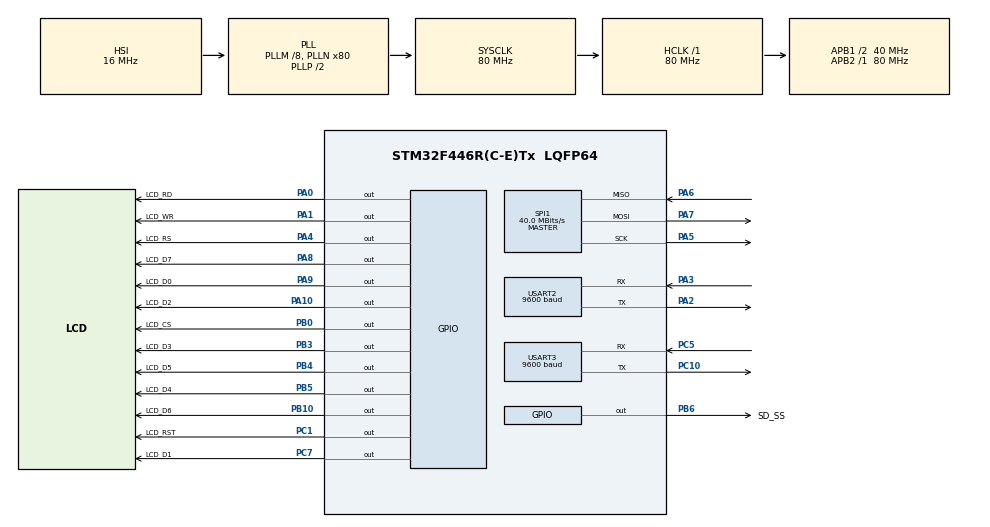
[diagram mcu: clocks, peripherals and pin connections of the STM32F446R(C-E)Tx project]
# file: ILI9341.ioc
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FATFS._MAX_SS=4096
FATFS._USE_LFN=1
Mcu.Family=STM32F4
Mcu.Name=STM32F446R(C-E)Tx
Mcu.Package=LQFP64
NVIC.PriorityGroup=NVIC_PRIORITYGROUP_4
NVIC.USART2_IRQn=true\:0\:0\:false\:false\:true\:true\:true\:true
NVIC.USART3_IRQn=true\:0\:0\:false\:false\:true\:true\:true\:true
PA0-WKUP.GPIO_Label=LCD_RD
PA0-WKUP.GPIO_Speed=GPIO_SPEED_FREQ_HIGH
PA0-WKUP.Signal=GPIO_Output
PA1.GPIO_Label=LCD_WR
PA1.GPIO_Speed=GPIO_SPEED_FREQ_HIGH
PA1.Signal=GPIO_Output
PA10.GPIO_Label=LCD_D2
PA10.GPIO_Speed=GPIO_SPEED_FREQ_HIGH
PA10.Signal=GPIO_Output
PA13.Mode=Serial_Wire
PA13.Signal=SYS_JTMS-SWDIO
PA14.Mode=Serial_Wire
PA14.Signal=SYS_JTCK-SWCLK
PA2.Mode=Asynchronous
PA2.Signal=USART2_TX
PA3.Mode=Asynchronous
PA3.Signal=USART2_RX
PA4.GPIO_Label=LCD_RS
PA4.GPIO_Speed=GPIO_SPEED_FREQ_HIGH
PA4.Signal=GPIO_Output
PA5.Mode=Full_Duplex_Master
PA5.Signal=SPI1_SCK
PA6.Mode=Full_Duplex_Master
PA6.Signal=SPI1_MISO
PA7.Mode=Full_Duplex_Master
PA7.Signal=SPI1_MOSI
PA8.GPIO_Label=LCD_D7
PA8.GPIO_Speed=GPIO_SPEED_FREQ_HIGH
PA8.Signal=GPIO_Output
PA9.GPIO_Label=LCD_D0
PA9.GPIO_Speed=GPIO_SPEED_FREQ_HIGH
PA9.Signal=GPIO_Output
PB0.GPIO_Label=LCD_CS
PB0.GPIO_Speed=GPIO_SPEED_FREQ_HIGH
PB0.Signal=GPIO_Output
PB10.GPIO_Label=LCD_D6
PB10.GPIO_Speed=GPIO_SPEED_FREQ_HIGH
PB10.Signal=GPIO_Output
PB3.GPIO_Label=LCD_D3
PB3.GPIO_Speed=GPIO_SPEED_FREQ_HIGH
PB3.Signal=GPIO_Output
PB4.GPIO_Label=LCD_D5
PB4.GPIO_Speed=GPIO_SPEED_FREQ_HIGH
PB4.Signal=GPIO_Output
PB5.GPIO_Label=LCD_D4
PB5.GPIO_Speed=GPIO_SPEED_FREQ_HIGH
PB5.Signal=GPIO_Output
PB6.GPIO_Label=SD_SS
PB6.GPIO_Speed=GPIO_SPEED_FREQ_MEDIUM
PB6.PinState=GPIO_PIN_SET
PB6.Signal=GPIO_Output
PC1.GPIO_Label=LCD_RST
PC1.GPIO_Speed=GPIO_SPEED_FREQ_HIGH
PC1.Signal=GPIO_Output
PC10.Mode=Asynchronous
PC10.Signal=USART3_TX
PC5.Mode=Asynchronous
PC5.Signal=USART3_RX
PC7.GPIO_Label=LCD_D1
PC7.GPIO_Speed=GPIO_SPEED_FREQ_HIGH
PC7.Signal=GPIO_Output
PH0-OSC_IN.Mode=HSE-External-Oscillator
PH0-OSC_IN.Signal=RCC_OSC_IN
PH1-OSC_OUT.Mode=HSE-External-Oscillator
PH1-OSC_OUT.Signal=RCC_OSC_OUT
ProjectManager.HeapSize=0x200
ProjectManager.StackSize=0x400
ProjectManager.TargetToolchain=STM32CubeIDE
RCC.AHBFreq_Value=80000000
RCC.APB1CLKDivider=RCC_HCLK_DIV2
RCC.APB1Freq_Value=40000000
RCC.APB1TimFreq_Value=80000000
RCC.APB2Freq_Value=80000000
RCC.APB2TimFreq_Value=80000000
RCC.CortexFreq_Value=80000000
RCC.HCLKFreq_Value=80000000
RCC.PLLM=8
RCC.PLLN=80
RCC.SYSCLKFreq_VALUE=80000000
RCC.SYSCLKSource=RCC_SYSCLKSOURCE_PLLCLK
RCC.USBFreq_Value=80000000
RCC.VCOOutputFreq_Value=160000000
SPI1.BaudRatePrescaler=SPI_BAUDRATEPRESCALER_2
SPI1.CalculateBaudRate=40.0 MBits/s
SPI1.Direction=SPI_DIRECTION_2LINES
SPI1.Mode=SPI_MODE_MASTER
SPI1.VirtualType=VM_MASTER
USART2.BaudRate=9600
USART2.VirtualMode=VM_ASYNC
USART3.BaudRate=9600
USART3.VirtualMode=VM_ASYNC
VP_FATFS_VS_Generic.Mode=User_defined
board=custom

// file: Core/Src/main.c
/* USER CODE BEGIN Header */
/**
 ******************************************************************************
 * @file           : main.c
 * @brief          : Main program body
 ******************************************************************************
 * @attention
 *
 * Copyright (c) 2024 STMicroelectronics.
 * All rights reserved.
 *
 * This software is licensed under terms that can be found in the LICENSE file
 * in the root directory of this software component.
 * If no LICENSE file comes with this software, it is provided AS-IS.
 *
 ******************************************************************************
 */
/* USER CODE END Header */
#include "main.h"
#include "fatfs.h"

/* USER CODE BEGIN Includes */
#include "ili9341.h"
#include "Bitmaps.h"
#include "fatfs_sd.h"
#include "string.h"
#include "stdio.h"
/* USER CODE END Includes */

/* USER CODE BEGIN PD */
#define CHUNK_ROWS 20
SPI_HandleTypeDef hspi1;
FATFS fs;
FATFS *pfs;
FIL fil;
FRESULT fres;
DWORD fre_clust;
uint32_t totalSpace, freeSpace;
char buffer[100];
/* USER CODE END PD */

SPI_HandleTypeDef hspi1;

UART_HandleTypeDef huart2;
UART_HandleTypeDef huart3;

/* USER CODE BEGIN PV */

//Declaramos variable que lleva el control de
volatile uint8_t estado = 0;
uint8_t rxByte;

volatile uint8_t rxState = 0;      // 0 = esperando control, 1 = esperando accion
volatile char rxControl = 0;
volatile char rxAction = 0;
volatile uint8_t comandoListo = 0;
volatile uint8_t stage1 = 0;
volatile uint8_t stage2 = 0;
volatile uint8_t stage3 = 0;
uint8_t dato_play = 'A';
uint8_t dato_inicio = 'S';
uint8_t dato_disparo = 'D';
uint8_t dato_colision = 'C';
uint8_t dato_muerte = 'M';
uint8_t dato_game = 'B';
uint8_t dato_gandor = 'W';
uint8_t flag_inicio = 0;
static uint8_t blockBuffer[320 * CHUNK_ROWS * 2];
volatile uint8_t inicio = 0;
volatile uint16_t x_rojo = 0;
volatile uint16_t y_rojo = 23;
volatile uint16_t x_celeste = 320-14;
volatile uint16_t y_celeste = 240-13;

//varibles para poder hacer logica de colisiones
#define STAGE_W         320
#define STAGE_H         240
#define TANK_W          14
#define TANK_H          13
#define MOVE_STEP       2
#define COLOR_CAMINO    0x0000

typedef enum {
    DIR_UP = 0,
    DIR_DOWN,
    DIR_LEFT,
    DIR_RIGHT
} TankDir;

volatile TankDir dir_rojo = DIR_RIGHT;
volatile TankDir dir_celeste = DIR_LEFT;
#define BALA_W 3
#define BALA_H 3
#define BALA_STEP 3
#define BALA_INTERVAL_MS 5

typedef struct {
    uint8_t activa;
    int16_t x;
    int16_t y;
    TankDir dir;
} Bala;

volatile Bala bala_roja = {0, 0, 0, DIR_RIGHT};
volatile Bala bala_celeste = {0, 0, 0, DIR_LEFT};

uint32_t lastBulletTick = 0;
uint8_t collisionMap[STAGE_H][STAGE_W];
uint8_t vida_rojo = 3;
uint8_t vida_celeste = 3;
volatile uint8_t contador1 = 0;
volatile uint8_t contador2 = 0;

/* USER CODE END PV */

void SystemClock_Config(void);
static void MX_GPIO_Init(void);
static void MX_USART3_UART_Init(void);
static void MX_SPI1_Init(void);
static void MX_USART2_UART_Init(void);
/* USER CODE BEGIN PFP */
//funcion para poder leer imagen de la SD
FRESULT LCD_DrawImageFromSD_Fast(const char *filename,
                                 uint16_t x,
                                 uint16_t y,
                                 uint16_t width,
                                 uint16_t height);

//prototipos para poder hacer colisiones
const char *ArchivoStageActual(void);
uint8_t EnJuego(void);
uint16_t LeerPixelStageActual(uint16_t x, uint16_t y);
uint8_t PuedeMoverTanque(uint16_t newX, uint16_t newY, TankDir dir);

FRESULT LCD_DrawRegionFromSD(const char *filename,
                             uint16_t srcX, uint16_t srcY,
                             uint16_t width, uint16_t height,
                             uint16_t dstX, uint16_t dstY);

const uint16_t *SpriteTanqueRojo(TankDir dir);
const uint16_t *SpriteTanqueCeleste(TankDir dir);

void DibujarTanqueRojo(void);
void DibujarTanqueCeleste(void);

void MoverTanqueRojoStage(TankDir dir);
void MoverTanqueCelesteStage(TankDir dir);
void BorrarFranjaMovimiento(uint16_t oldX, uint16_t oldY, TankDir dir);
uint16_t SpriteWidth(TankDir dir);
uint16_t SpriteHeight(TankDir dir);
void BorrarSpriteAnterior(uint16_t oldX, uint16_t oldY, TankDir oldDir, TankDir newDir);
uint8_t PuedeMoverBala(int16_t newX, int16_t newY, TankDir dir);
void DibujarBala(const Bala *bala);
void BorrarBala(const Bala *bala);
void DispararBalaRoja(void);
void DispararBalaCeleste(void);
void ActualizarBala(Bala *bala);
void ActualizarBalas(void);
void BorrarFranjaBala(const Bala *bala);
void BorrarBalaCompleta(const Bala *bala);
FRESULT CargarMapaColision(const char *filename);
uint8_t PixelTransitableRAM(uint16_t x, uint16_t y);
uint8_t BalaImpactaTanque(const Bala *bala, uint16_t tankX, uint16_t tankY, TankDir tankDir);
uint8_t TanquesColisionan(uint16_t x1, uint16_t y1, TankDir dir1,
                          uint16_t x2, uint16_t y2, TankDir dir2);
uint8_t PuedeMoverTanqueRojo(uint16_t newX, uint16_t newY, TankDir dir);
uint8_t PuedeMoverTanqueCeleste(uint16_t newX, uint16_t newY, TankDir dir);
/* USER CODE END PFP */

/* USER CODE BEGIN 0 */
void transmit_uart(char *string){
	uint8_t len = strlen(string);
	HAL_UART_Transmit(&huart2, (uint8_t*) string, len, 200);
}

/* USER CODE END 0 */

int main(void)
{

  /* MCU Configuration--------------------------------------------------------*/

  /* Reset of all peripherals, Initializes the Flash interface and the Systick. */
  HAL_Init();

  /* Configure the system clock */
  SystemClock_Config();

  /* Initialize all configured peripherals */
  MX_GPIO_Init();
  MX_USART3_UART_Init();
  MX_SPI1_Init();
  MX_FATFS_Init();
  MX_USART2_UART_Init();
  /* USER CODE BEGIN 2 */
  	HAL_UART_Receive_IT(&huart3, &rxByte, 1);
  	//codigo para poder leer la microSD
  	/*HAL_Delay(500);
  	//montamos el sistema
  	fres = f_mount(&fs, "/", 0);
  	if(fres == FR_OK){
  		transmit_uart("Micro SD card is mounted successfully\n");
  	}
  	else if(fres != FR_OK){
  		transmit_uart("Micro SD card's mount error\n");
  	}
  	//abrimos archivo ya sea en lectura o escritura o en ambos y append
  	fres = f_open(&fil, "prueba.txt", FA_OPEN_APPEND | FA_READ | FA_WRITE);
  	if(fres == FR_OK){
  		transmit_uart("File opened for reading\n");
  	}
  	else if(fres != FR_OK){
  		transmit_uart("File was not opened for reading\n");
  	}

  	//escribir en el archivo abierto
  	for(uint8_t i = 0; i < 5; i++){
  		f_puts("Hola mundo digital 2\n", &fil);
  	}

  	//cerramo archivo abierto
  	fres = f_close(&fil);
  	if (fres == FR_OK){
  		transmit_uart("The file is closed\n");
  	}
  	else if(fres != FR_OK){
  		transmit_uart("The was not file closed\n");
  	}

  	//leemos archivo
  	fres = f_open(&fil, "prueba.txt", FA_READ);
  	if(fres == FR_OK){
  	  		transmit_uart("File opened for reading\n");
  	  	}
  	  	else if(fres != FR_OK){
  	  		transmit_uart("File was not opened for reading\n");
  	  	}
  	//leemos el archivo
  	while (f_gets(buffer, sizeof(buffer),&fil)){
  		char mRd[100];
  		sprintf(mRd, "%s", buffer);
  		transmit_uart(mRd);
  	}
  	fres = f_close(&fil);
  	  	if (fres == FR_OK){
  	  		transmit_uart("The file is closed\n");
  	  	}
  	  	else if(fres != FR_OK){
  	  		transmit_uart("The was not file closed\n");
  	  	}
  	  	f_mount(NULL, "", 1);
  	  	if(fres == FR_OK){
  	  		transmit_uart("The microSD is unmounted\n");
  	  	}
  	  	else if(fres != FR_OK){
  	  		transmit_uart("The microSD was not unmounted\n");
  	  	}*/
  	//cerramos el archivo

	LCD_Init();
	HAL_Delay(100);

	fres = f_mount(&fs, "/", 1);
	if (fres == FR_OK) {
	    transmit_uart("SD montada correctamente\r\n");
	} else {
	    char msg[50];
	    sprintf(msg, "Mount error: %d\r\n", fres);
	    transmit_uart(msg);
	}

	if (LCD_DrawImageFromSD_Fast("0:/INICIO.bin", 0, 0, 320, 240) == FR_OK) {
	    transmit_uart("Fondo cargado desde SD\r\n");
	} else {
	    transmit_uart("Error cargando fondo desde SD\r\n");
	}
	//LCD_Clear(0x00);
	//FillRect(unsigned int x, unsigned int y, unsigned int w, unsigned int h, unsigned int c);
	//FillRect(0, 0, 319, 239, 0x0DFE);
	//FillRect(0, 0, 319, 239, 0x4c9d);

	//LCD_Bitmap(unsigned int x, unsigned int y, unsigned int width, unsigned int height, unsigned char bitmap[]);

	//---- Desplegamos la pantalla de inicio del juego ----//
	//LCD_Bitmap(0, 0, 320, 240, INICIO);

	//LCD_Bitmap(100, 100, 24, 30, sonic);

	//LCD_Bitmap(0, 0, 320, 240, fondoPinguin);
	//LCD_BitmapTransparent(100, 100, 49, 36, dkong, 0x4b7e);
	//LCD_BitmapTransparent(50, 60,32,32,megaman,0x03ba);
	//LCD_Bitmap(132, 100, 32, 32, megaman);

// 	FillRect(0, 0, 319, 206, 0x079f);
//	LCD_Print("Hola Mundo", 20, 150, 2, 0x001F, 0x055b);
//
//
//for (int x = 0; x < 319; x++) {
//			LCD_Bitmap(x, 116, 15, 15, tile);
//			LCD_Bitmap(x, 68, 15, 15, tile);
//			LCD_Bitmap(x, 207, 15, 15, tile);
//			LCD_Bitmap(x, 223, 15, 15, tile);
//			x += 14;
//		}

	//LCD_BitmapTransparent(100, 116-36, 40, 40, TANK, 0x079f);
	//LCD_Sprite(int x, int y, int width, int height, unsigned char bitmap[], int columns, int index, char flip, char offset);

	//LCD_Sprite(100, 116-29, 14, 13, TANK_DERECHA_ROJO, 1, 0, 0, 0);

	//  LCD_Print("Hola Mundo", 20, 100, 1, 0x001F, 0xCAB9);

  /* USER CODE END 2 */

  /* Infinite loop */
  /* USER CODE BEGIN WHILE */
	  while (1)
	  {
		  //---- logica iniciar musica de fondo inicio ----//
		  if(flag_inicio == 0){
			  flag_inicio = 1;
			  HAL_UART_Transmit(&huart3, &dato_inicio, 1, 100);
		  }
		  //---- fin de logica ----//

		  //---- logica para saber de que control viene la info ----//
	      if (comandoListo)
	      {
	          comandoListo = 0;

	          if (rxControl == '1')
	          {
	              switch (rxAction)
	              {
	                  case 'A':
	                      if (estado == 0){
	                    	  estado = 1;
	                    	  HAL_UART_Transmit(&huart3, &dato_play, 1, 100);
	                      }
	                      break;

	                  case 'B':
	                	  /*if(estado == 1){
	                		  //estado = 2;

	                		  if (EnJuego()) DispararBalaRoja();
	                	  }*/
	                	  if (EnJuego()) {
	                		  HAL_UART_Transmit(&huart3, &dato_disparo, 1, 100);
	                		  DispararBalaRoja();
	                	  }
	                      break;

	                  case 'U':
	                      if (EnJuego()) MoverTanqueRojoStage(DIR_UP);
	                      break;

	                  case 'D':
	                      if (EnJuego()) MoverTanqueRojoStage(DIR_DOWN);
	                      break;

	                  case 'L':
	                      if (EnJuego()) MoverTanqueRojoStage(DIR_LEFT);
	                      break;

	                  case 'R':
	                      if (EnJuego()) MoverTanqueRojoStage(DIR_RIGHT);
	                      break;
	              }
	          }
	          else if (rxControl == '2')
	          {
	              switch (rxAction)
	              {
	                  case 'A':
	                	  if (estado == 0){
	                	  	     estado = 1;
	                	  	     HAL_UART_Transmit(&huart3, &dato_play, 1, 100);
	                	 }
	                      break;

	                  case 'B':
	                	  if (EnJuego()) {
	                		  HAL_UART_Transmit(&huart3, &dato_disparo, 1, 100);
	                		  DispararBalaCeleste();
	                	  }
	                      break;

	                  case 'L':
	                      if (EnJuego()) MoverTanqueCelesteStage(DIR_LEFT);
	                      break;

	                  case 'R':
	                      if (EnJuego()) MoverTanqueCelesteStage(DIR_RIGHT);
	                      break;

	                  case 'U':
	                	  if (EnJuego()) MoverTanqueCelesteStage(DIR_UP);
	                	  break;

	                  case 'D':
	                      if (EnJuego()) MoverTanqueCelesteStage(DIR_DOWN);
	                      break;
	              }
	          }
	      }
	      //---- Fin de logica para detectar controles ----//

	      //logica para balas
	      ActualizarBalas();
	      //fin de logica para balas
	      //---- Logica para poder ver en que estado estamos ----//
	      switch (estado)
	      {
	          case 1:
	              if (stage1 == 0)
	              {

	            		  //dibujar sprite de tanque rojo
	            	          stage2 = 0;
	            	          stage1 = 1;
	            	          stage3 = 0;

	            	          x_rojo = 33;
	            	          y_rojo = 45;
	            	          dir_rojo = DIR_RIGHT;

	            	          LCD_DrawImageFromSD_Fast("0:/STAGE1.bin", 0, 0, 320, 240);
	            	          CargarMapaColision("0:/STAGE1.bin");
	            	          DibujarTanqueRojo();

	            	      //dibujar sprite de tanque celeste
	            	          x_celeste = STAGE_W - TANK_W;
	            	          y_celeste = STAGE_H - TANK_H;
	            	          dir_celeste = DIR_LEFT;
	            	          DibujarTanqueCeleste();
	            	          //Vidas player 1
	            	          LCD_Bitmap(107, 0, 10, 7, VIDAS);
	            	          LCD_Bitmap(107+10+2, 0, 10, 7, VIDAS);
	            	          LCD_Bitmap(119+2+10, 0, 10,7, VIDAS);

	            	          //vidas player 2
	            	          LCD_Bitmap(107, 11, 10, 7, VIDAS);
	            	          LCD_Bitmap(107+10+2, 11, 10, 7, VIDAS);
	            	          LCD_Bitmap(119+2+10, 11, 10, 7, VIDAS);
	            	          bala_roja.activa = 0;
	            	          bala_celeste.activa = 0;

	              }
	              switch (vida_rojo){
	              	            	          	case 0:
	              	            	          		FillRect(107, 0, 10,7, 0x0000);
	              	            	          	 break;
	              	            	          	case 1:
	              	            	          		FillRect(119,0,10,7, 0x0000);
	              	            	          	 break;
	              	            	          	case 2:
	              	            	          		FillRect(131,0, 10,7, 0x0000);
	              	            	          	 break;
	              	            	          }
	              switch (vida_celeste){
	              	  	  case 0:
	              	          FillRect(107, 11, 10,7, 0x0000);
	              	          break;
	              	      case 1:
	              	          FillRect(119, 11,10,7, 0x0000);
	              	          break;
	              	      case 2:
	              	          FillRect(131,11, 10,7, 0x0000);
	              	      break;
	                      }
	          break;

	          case 2:
	        	  if(stage2 == 0){
	        		  	  vida_rojo = 3;
	        		  	  vida_celeste = 3;
	        	          stage2 = 1;
	        	          stage1 = 0;
	        	          stage3 = 0;
	        	          LCD_DrawImageFromSD_Fast("0:/STAGE2.bin", 0, 0, 320, 240);
	        	          CargarMapaColision("0:/STAGE2.bin");
	        	          HAL_UART_Transmit(&huart3, &dato_game, 1, 100);
	        	          x_rojo = 30;
	        	          y_rojo = 187;
	        	          dir_rojo = DIR_RIGHT;
	        	          DibujarTanqueRojo();

	        	          x_celeste = 195 - TANK_W;
	        	          y_celeste = 69 - TANK_H;
	        	          dir_celeste = DIR_LEFT;
	        	          DibujarTanqueCeleste();

	        	          //Vidas player 1
	        	          LCD_Bitmap(107, 0, 10, 7, VIDAS);
	        	          LCD_Bitmap(107+10+2, 0, 10, 7, VIDAS);
	        	          LCD_Bitmap(119+2+10, 0, 10,7, VIDAS);

	        	          //vidas player 2
	        	          LCD_Bitmap(107, 9, 10, 7, VIDAS);
	        	          LCD_Bitmap(107+10+2, 9, 10, 7, VIDAS);
	        	          LCD_Bitmap(119+2+10, 9, 10, 7, VIDAS);
	        	          bala_roja.activa = 0;
	        	          bala_celeste.activa = 0;
	        	      }
	        	  switch (vida_rojo){
	        	  	              	            	          	case 0:
	        	  	              	            	          		FillRect(107, 0, 10,7, 0x0000);
	        	  	              	            	          	 break;
	        	  	              	            	          	case 1:
	        	  	              	            	          		FillRect(119,0,10,7, 0x0000);
	        	  	              	            	          	 break;
	        	  	              	            	          	case 2:
	        	  	              	            	          		FillRect(131,0, 10,7, 0x0000);
	        	  	              	            	          	 break;
	        	  	              	            	          }
	        	  	              switch (vida_celeste){
	        	  	              	  	  case 0:
	        	  	              	          FillRect(107, 9, 10,7, 0x0000);
	        	  	              	          break;
	        	  	              	      case 1:
	        	  	              	          FillRect(119, 9,10,7, 0x0000);
	        	  	              	          break;
	        	  	              	      case 2:
	        	  	              	          FillRect(131,9, 10,7, 0x0000);
	        	  	              	      break;
	        	  	                      }
	              break;
	          case 3:
	        	  if(stage3 == 0){
	        		  vida_rojo = 3;
	        		  vida_celeste = 3;
	        		  stage2 = 0;
	        		  stage1 = 0;
	        		  stage3 = 1;
	        		  LCD_DrawImageFromSD_Fast("0:/STAGE3.bin", 0, 0, 320, 240);
	        		  CargarMapaColision("0:/STAGE3.bin");
	        		  HAL_UART_Transmit(&huart3, &dato_game, 1, 100);
	        		  x_rojo = 266;
	        		 y_rojo = 93;
	        		 dir_rojo = DIR_RIGHT;
	        		 DibujarTanqueRojo();

	        		 x_celeste = 9;   //- TANK_W;
	        		 y_celeste = 97; //- TANK_H;
	        		 dir_celeste = DIR_LEFT;
	        		 DibujarTanqueCeleste();
	        		 //Vidas player 1
	        		 LCD_Bitmap(107, 0, 10, 7, VIDAS);
	        		 LCD_Bitmap(107+10+2, 0, 10, 7, VIDAS);
	        		 LCD_Bitmap(119+2+10, 0, 10,7, VIDAS);

	        		 //vidas player 2
	        		 LCD_Bitmap(107, 11, 10, 7, VIDAS);
	        		 LCD_Bitmap(107+10+2, 11, 10, 7, VIDAS);
	        		 LCD_Bitmap(119+2+10, 11, 10, 7, VIDAS);
	        		 bala_roja.activa = 0;
	        		 bala_celeste.activa = 0;
	        	  }
	        	  switch (vida_rojo){
	        	  	              	            	          	case 0:
	        	  	              	            	          		FillRect(107, 0, 10,7, 0x0000);
	        	  	              	            	          	 break;
	        	  	              	            	          	case 1:
	        	  	              	            	          		FillRect(119,0,10,7, 0x0000);
	        	  	              	            	          	 break;
	        	  	              	            	          	case 2:
	        	  	              	            	          		FillRect(131,0, 10,7, 0x0000);
	        	  	              	            	          	 break;
	        	  	              	            	          }
	        	  	              switch (vida_celeste){
	        	  	              	  	  case 0:
	        	  	              	          FillRect(107, 11, 10,7, 0x0000);
	        	  	              	          break;
	        	  	              	      case 1:
	        	  	              	          FillRect(119, 11,10,7, 0x0000);
	        	  	              	          break;
	        	  	              	      case 2:
	        	  	              	          FillRect(131,11, 10,7, 0x0000);
	        	  	              	      break;
	        	  	                      }
	        	  break;
	        	  case 4:
	        		  HAL_UART_Transmit(&huart3, &dato_gandor, 1, 100);
	        		  LCD_DrawImageFromSD_Fast("0:/Player1wins.bin", 0, 0, 320, 240);
	        		  break;
	        	  case 5:
	        		  HAL_UART_Transmit(&huart3, &dato_gandor, 1, 100);
	        		  LCD_DrawImageFromSD_Fast("0:/player2wins.bin", 0, 0, 320, 240);
	        		  break;
	          default:
	              break;
	      }
	      //---- fin de logica para estados ----//
    /* USER CODE END WHILE */

	  }
}

void SystemClock_Config(void)
{
  RCC_OscInitTypeDef RCC_OscInitStruct = {0};
  RCC_ClkInitTypeDef RCC_ClkInitStruct = {0};

  /** Configure the main internal regulator output voltage
  */
  __HAL_RCC_PWR_CLK_ENABLE();
  __HAL_PWR_VOLTAGESCALING_CONFIG(PWR_REGULATOR_VOLTAGE_SCALE3);

  /** Initializes the RCC Oscillators according to the specified parameters
  * in the RCC_OscInitTypeDef structure.
  */
  RCC_OscInitStruct.OscillatorType = RCC_OSCILLATORTYPE_HSI;
  RCC_OscInitStruct.HSIState = RCC_HSI_ON;
  RCC_OscInitStruct.HSICalibrationValue = RCC_HSICALIBRATION_DEFAULT;
  RCC_OscInitStruct.PLL.PLLState = RCC_PLL_ON;
  RCC_OscInitStruct.PLL.PLLSource = RCC_PLLSOURCE_HSI;
  RCC_OscInitStruct.PLL.PLLM = 8;
  RCC_OscInitStruct.PLL.PLLN = 80;
  RCC_OscInitStruct.PLL.PLLP = RCC_PLLP_DIV2;
  RCC_OscInitStruct.PLL.PLLQ = 2;
  RCC_OscInitStruct.PLL.PLLR = 2;
  if (HAL_RCC_OscConfig(&RCC_OscInitStruct) != HAL_OK)
  {
    Error_Handler();
  }

  /** Initializes the CPU, AHB and APB buses clocks
  */
  RCC_ClkInitStruct.ClockType = RCC_CLOCKTYPE_HCLK|RCC_CLOCKTYPE_SYSCLK
                              |RCC_CLOCKTYPE_PCLK1|RCC_CLOCKTYPE_PCLK2;
  RCC_ClkInitStruct.SYSCLKSource = RCC_SYSCLKSOURCE_PLLCLK;
  RCC_ClkInitStruct.AHBCLKDivider = RCC_SYSCLK_DIV1;
  RCC_ClkInitStruct.APB1CLKDivider = RCC_HCLK_DIV2;
  RCC_ClkInitStruct.APB2CLKDivider = RCC_HCLK_DIV1;

  if (HAL_RCC_ClockConfig(&RCC_ClkInitStruct, FLASH_LATENCY_2) != HAL_OK)
  {
    Error_Handler();
  }
}

static void MX_SPI1_Init(void)
{

  /* SPI1 parameter configuration*/
  hspi1.Instance = SPI1;
  hspi1.Init.Mode = SPI_MODE_MASTER;
  hspi1.Init.Direction = SPI_DIRECTION_2LINES;
  hspi1.Init.DataSize = SPI_DATASIZE_8BIT;
  hspi1.Init.CLKPolarity = SPI_POLARITY_LOW;
  hspi1.Init.CLKPhase = SPI_PHASE_1EDGE;
  hspi1.Init.NSS = SPI_NSS_SOFT;
  hspi1.Init.BaudRatePrescaler = SPI_BAUDRATEPRESCALER_2;
  hspi1.Init.FirstBit = SPI_FIRSTBIT_MSB;
  hspi1.Init.TIMode = SPI_TIMODE_DISABLE;
  hspi1.Init.CRCCalculation = SPI_CRCCALCULATION_DISABLE;
  hspi1.Init.CRCPolynomial = 10;
  if (HAL_SPI_Init(&hspi1) != HAL_OK)
  {
    Error_Handler();
  }

}

static void MX_USART2_UART_Init(void)
{

  huart2.Instance = USART2;
  huart2.Init.BaudRate = 9600;
  huart2.Init.WordLength = UART_WORDLENGTH_8B;
  huart2.Init.StopBits = UART_STOPBITS_1;
  huart2.Init.Parity = UART_PARITY_NONE;
  huart2.Init.Mode = UART_MODE_TX_RX;
  huart2.Init.HwFlowCtl = UART_HWCONTROL_NONE;
  huart2.Init.OverSampling = UART_OVERSAMPLING_16;
  if (HAL_UART_Init(&huart2) != HAL_OK)
  {
    Error_Handler();
  }

}

static void MX_USART3_UART_Init(void)
{

  huart3.Instance = USART3;
  huart3.Init.BaudRate = 115200;
  huart3.Init.WordLength = UART_WORDLENGTH_8B;
  huart3.Init.StopBits = UART_STOPBITS_1;
  huart3.Init.Parity = UART_PARITY_NONE;
  huart3.Init.Mode = UART_MODE_TX_RX;
  huart3.Init.HwFlowCtl = UART_HWCONTROL_NONE;
  huart3.Init.OverSampling = UART_OVERSAMPLING_16;
  if (HAL_UART_Init(&huart3) != HAL_OK)
  {
    Error_Handler();
  }

}

static void MX_GPIO_Init(void)
{
  GPIO_InitTypeDef GPIO_InitStruct = {0};

  /* GPIO Ports Clock Enable */
  __HAL_RCC_GPIOH_CLK_ENABLE();
  __HAL_RCC_GPIOC_CLK_ENABLE();
  __HAL_RCC_GPIOA_CLK_ENABLE();
  __HAL_RCC_GPIOB_CLK_ENABLE();

  /*Configure GPIO pin Output Level */
  HAL_GPIO_WritePin(GPIOC, LCD_RST_Pin|LCD_D1_Pin, GPIO_PIN_RESET);

  /*Configure GPIO pin Output Level */
  HAL_GPIO_WritePin(GPIOA, LCD_RD_Pin|LCD_WR_Pin|LCD_RS_Pin|LCD_D7_Pin
                          |LCD_D0_Pin|LCD_D2_Pin, GPIO_PIN_RESET);

  /*Configure GPIO pin Output Level */
  HAL_GPIO_WritePin(GPIOB, LCD_CS_Pin|LCD_D6_Pin|LCD_D3_Pin|LCD_D5_Pin
                          |LCD_D4_Pin, GPIO_PIN_RESET);

  /*Configure GPIO pin Output Level */
  HAL_GPIO_WritePin(SD_SS_GPIO_Port, SD_SS_Pin, GPIO_PIN_SET);

  /*Configure GPIO pins : LCD_RST_Pin LCD_D1_Pin */
  GPIO_InitStruct.Pin = LCD_RST_Pin|LCD_D1_Pin;
  GPIO_InitStruct.Mode = GPIO_MODE_OUTPUT_PP;
  GPIO_InitStruct.Pull = GPIO_NOPULL;
  GPIO_InitStruct.Speed = GPIO_SPEED_FREQ_HIGH;
  HAL_GPIO_Init(GPIOC, &GPIO_InitStruct);

  /*Configure GPIO pins : LCD_RD_Pin LCD_WR_Pin LCD_RS_Pin LCD_D7_Pin
                           LCD_D0_Pin LCD_D2_Pin */
  GPIO_InitStruct.Pin = LCD_RD_Pin|LCD_WR_Pin|LCD_RS_Pin|LCD_D7_Pin
                          |LCD_D0_Pin|LCD_D2_Pin;
  GPIO_InitStruct.Mode = GPIO_MODE_OUTPUT_PP;
  GPIO_InitStruct.Pull = GPIO_NOPULL;
  GPIO_InitStruct.Speed = GPIO_SPEED_FREQ_HIGH;
  HAL_GPIO_Init(GPIOA, &GPIO_InitStruct);

  /*Configure GPIO pins : LCD_CS_Pin LCD_D6_Pin LCD_D3_Pin LCD_D5_Pin
                           LCD_D4_Pin */
  GPIO_InitStruct.Pin = LCD_CS_Pin|LCD_D6_Pin|LCD_D3_Pin|LCD_D5_Pin
                          |LCD_D4_Pin;
  GPIO_InitStruct.Mode = GPIO_MODE_OUTPUT_PP;
  GPIO_InitStruct.Pull = GPIO_NOPULL;
  GPIO_InitStruct.Speed = GPIO_SPEED_FREQ_HIGH;
  HAL_GPIO_Init(GPIOB, &GPIO_InitStruct);

  /*Configure GPIO pin : SD_SS_Pin */
  GPIO_InitStruct.Pin = SD_SS_Pin;
  GPIO_InitStruct.Mode = GPIO_MODE_OUTPUT_PP;
  GPIO_InitStruct.Pull = GPIO_NOPULL;
  GPIO_InitStruct.Speed = GPIO_SPEED_FREQ_MEDIUM;
  HAL_GPIO_Init(SD_SS_GPIO_Port, &GPIO_InitStruct);

}

/* USER CODE BEGIN 4 */
void HAL_UART_RxCpltCallback(UART_HandleTypeDef *huart)
{
    if (huart->Instance == USART3)
    {
        if (rxState == 0)
        {
            // Esperando número de control
            if (rxByte == '1' || rxByte == '2')
            {
                rxControl = rxByte;
                rxState = 1;
            }
        }
        else if (rxState == 1)
        {
            // Esperando acción
            if (rxByte == 'A' || rxByte == 'B' || rxByte == 'L' || rxByte == 'R' ||
                rxByte == 'U' || rxByte == 'D')
            {
                rxAction = rxByte;
                comandoListo = 1;
            }

            // Después de recibir acción, volver a esperar control
            rxState = 0;
        }

        HAL_UART_Receive_IT(&huart3, &rxByte, 1);
    }
}

//logica para poder leer imagenes desde la SD y poder enviarlos a la pantalla
FRESULT LCD_DrawImageFromSD_Fast(const char *filename,
                                 uint16_t x,
                                 uint16_t y,
                                 uint16_t width,
                                 uint16_t height)
{
    FRESULT fres_local;
    UINT bytesRead;
    char msg[100];

    if (width > 320) {
        transmit_uart("Error: width > 320\r\n");
        return FR_INVALID_PARAMETER;
    }

    fres_local = f_open(&fil, filename, FA_READ);
    if (fres_local != FR_OK) {
        sprintf(msg, "Open error: %d\r\n", fres_local);
        transmit_uart(msg);
        return fres_local;
    }

    HAL_GPIO_WritePin(GPIOB, LCD_CS_Pin, GPIO_PIN_RESET);
    SetWindows(x, y, x + width - 1, y + height - 1);
    HAL_GPIO_WritePin(GPIOA, LCD_RS_Pin, GPIO_PIN_SET);

    uint16_t rowsRemaining = height;
    while (rowsRemaining > 0) {

        uint16_t rowsToRead = (rowsRemaining > CHUNK_ROWS) ? CHUNK_ROWS : rowsRemaining;
        uint32_t bytesToRead = width * rowsToRead * 2;

        fres_local = f_read(&fil, blockBuffer, bytesToRead, &bytesRead);
        if (fres_local != FR_OK) {
            sprintf(msg, "Read error: %d\r\n", fres_local);
            transmit_uart(msg);
            f_close(&fil);
            HAL_GPIO_WritePin(GPIOB, LCD_CS_Pin, GPIO_PIN_SET);
            return fres_local;
        }

        if (bytesRead != bytesToRead) {
            transmit_uart("Partial read\r\n");
            f_close(&fil);
            HAL_GPIO_WritePin(GPIOB, LCD_CS_Pin, GPIO_PIN_SET);
            return FR_INT_ERR;
        }

        for (uint32_t i = 0; i < bytesToRead; i += 2) {
            uint8_t hi = blockBuffer[i];
            uint8_t lo = blockBuffer[i + 1];

            LCD_DATA(hi);
            LCD_DATA(lo);
        }

        rowsRemaining -= rowsToRead;
    }

    HAL_GPIO_WritePin(GPIOB, LCD_CS_Pin, GPIO_PIN_SET);
    f_close(&fil);

    transmit_uart("Image drawn successfully\r\n");
    return FR_OK;
}

//---- Funciones para lograr colisiones ----//

FRESULT LCD_DrawRegionFromSD(const char *filename,
                             uint16_t srcX, uint16_t srcY,
                             uint16_t width, uint16_t height,
                             uint16_t dstX, uint16_t dstY)
{
    FRESULT fr;
    UINT br;
    uint32_t rowBytes = width * 2;

    fr = f_open(&fil, filename, FA_READ);
    if (fr != FR_OK) return fr;

    HAL_GPIO_WritePin(GPIOB, LCD_CS_Pin, GPIO_PIN_RESET);
    SetWindows(dstX, dstY, dstX + width - 1, dstY + height - 1);
    HAL_GPIO_WritePin(GPIOA, LCD_RS_Pin, GPIO_PIN_SET);

    for (uint16_t row = 0; row < height; row++)
    {
        DWORD offset = (((DWORD)(srcY + row) * STAGE_W) + srcX) * 2;

        fr = f_lseek(&fil, offset);
        if (fr != FR_OK) {
            HAL_GPIO_WritePin(GPIOB, LCD_CS_Pin, GPIO_PIN_SET);
            f_close(&fil);
            return fr;
        }

        fr = f_read(&fil, blockBuffer, rowBytes, &br);
        if (fr != FR_OK || br != rowBytes) {
            HAL_GPIO_WritePin(GPIOB, LCD_CS_Pin, GPIO_PIN_SET);
            f_close(&fil);
            return FR_INT_ERR;
        }

        for (uint32_t i = 0; i < rowBytes; i += 2)
        {
            LCD_DATA(blockBuffer[i]);
            LCD_DATA(blockBuffer[i + 1]);
        }
    }

    HAL_GPIO_WritePin(GPIOB, LCD_CS_Pin, GPIO_PIN_SET);
    f_close(&fil);
    return FR_OK;
}

const uint16_t *SpriteTanqueRojo(TankDir dir)
{
    switch (dir)
    {
        case DIR_UP:    return TANK_ARRIBA_ROJO;
        case DIR_DOWN:  return TANK_ABAJO_ROJO;
        case DIR_LEFT:  return TANK_IZQUIERDA_ROJO;
        case DIR_RIGHT: return TANK_DERECHA_ROJO;
        default:        return TANK_DERECHA_ROJO;
    }
}
const char *ArchivoStageActual(void)
{
    if (stage1) return "0:/STAGE1.bin";
    if (stage2) return "0:/STAGE2.bin";
    if (stage3) return "0:/STAGE3.bin";
    return "0:/INICIO.bin";
}

uint8_t EnJuego(void)
{
    return (stage1 || stage2 || stage3);
}

uint16_t LeerPixelStageActual(uint16_t x, uint16_t y)
{
    UINT br;
    uint8_t pix[2];
    DWORD offset;
    const char *archivo = ArchivoStageActual();

    if (x >= STAGE_W || y >= STAGE_H) return 0xFFFF;

    offset = ((DWORD)y * STAGE_W + x) * 2;

    if (f_open(&fil, archivo, FA_READ) != FR_OK) return 0xFFFF;

    if (f_lseek(&fil, offset) != FR_OK) {
        f_close(&fil);
        return 0xFFFF;
    }

    if (f_read(&fil, pix, 2, &br) != FR_OK || br != 2) {
        f_close(&fil);
        return 0xFFFF;
    }

    f_close(&fil);
    return ((uint16_t)pix[0] << 8) | pix[1];
}

uint8_t PuedeMoverTanque(uint16_t newX, uint16_t newY, TankDir dir)
{
    uint16_t w = SpriteWidth(dir);
    uint16_t h = SpriteHeight(dir);

    uint16_t left, right, top, bottom, midX, midY;

    if (newX > (STAGE_W - w)) return 0;
    if (newY > (STAGE_H - h)) return 0;

    left   = newX;
    right  = newX + w - 1;
    top    = newY;
    bottom = newY + h - 1;
    midX   = newX + (w / 2);
    midY   = newY + (h / 2);

    switch (dir)
    {
        case DIR_RIGHT:
            if (!PixelTransitableRAM(right, top)) return 0;
            if (!PixelTransitableRAM(right, midY)) return 0;
            if (!PixelTransitableRAM(right, bottom)) return 0;
            break;

        case DIR_LEFT:
            if (!PixelTransitableRAM(left, top)) return 0;
            if (!PixelTransitableRAM(left, midY)) return 0;
            if (!PixelTransitableRAM(left, bottom)) return 0;
            break;

        case DIR_UP:
            if (!PixelTransitableRAM(left, top)) return 0;
            if (!PixelTransitableRAM(midX, top)) return 0;
            if (!PixelTransitableRAM(right, top)) return 0;
            break;

        case DIR_DOWN:
            if (!PixelTransitableRAM(left, bottom)) return 0;
            if (!PixelTransitableRAM(midX, bottom)) return 0;
            if (!PixelTransitableRAM(right, bottom)) return 0;
            break;
    }

    return 1;
}
const uint16_t *SpriteTanqueCeleste(TankDir dir)
{
    switch (dir)
    {
        case DIR_UP:    return TANK_ARRIBA_CELESTE;
        case DIR_DOWN:  return TANK_ABAJO_CELESTE;
        case DIR_LEFT:  return TANK_IZQUIERDA_CELESTE;
        case DIR_RIGHT: return TANK_DERECHA_CELESTE;
        default:        return TANK_IZQUIERDA_CELESTE;
    }
}
uint16_t SpriteWidth(TankDir dir)
{
    switch (dir)
    {
        case DIR_UP:
        	return 13;
        case DIR_DOWN:
            return 12;

        case DIR_LEFT:
        	return 13;
        case DIR_RIGHT:
        	 return 14;
        default:
            return 14;
    }
}

uint16_t SpriteHeight(TankDir dir)
{
    switch (dir)
    {
        case DIR_UP:
        case DIR_DOWN:
            return 14;

        case DIR_LEFT:
        case DIR_RIGHT:
        	return 13;
        default:
            return 13;
    }
}
void DibujarTanqueRojo(void)
{
    uint16_t w = SpriteWidth(dir_rojo);
    uint16_t h = SpriteHeight(dir_rojo);

    LCD_Sprite(x_rojo, y_rojo, w, h, SpriteTanqueRojo(dir_rojo), 1, 0, 0, 0);
}

void DibujarTanqueCeleste(void)
{
    uint16_t w = SpriteWidth(dir_celeste);
    uint16_t h = SpriteHeight(dir_celeste);

    LCD_Sprite(x_celeste, y_celeste, w, h, SpriteTanqueCeleste(dir_celeste), 1, 0, 0, 0);
}
void BorrarSpriteAnterior(uint16_t oldX, uint16_t oldY, TankDir oldDir, TankDir newDir)
{
    uint16_t oldW = SpriteWidth(oldDir);
    uint16_t oldH = SpriteHeight(oldDir);

    if (oldDir != newDir)
    {
        for (uint16_t i = 0; i < oldH; i++)
        {
            H_line(oldX, oldY + i, oldW, COLOR_CAMINO);
        }
        return;
    }

    switch (newDir)
    {
        case DIR_RIGHT:
            for (uint16_t i = 0; i < MOVE_STEP; i++)
            {
                V_line(oldX + i, oldY, oldH, COLOR_CAMINO);
            }
            break;

        case DIR_LEFT:
            for (uint16_t i = 0; i < MOVE_STEP; i++)
            {
                V_line(oldX + oldW - MOVE_STEP + i, oldY, oldH, COLOR_CAMINO);
            }
            break;

        case DIR_UP:
            for (uint16_t i = 0; i < MOVE_STEP; i++)
            {
                H_line(oldX, oldY + oldH - MOVE_STEP + i, oldW, COLOR_CAMINO);
            }
            break;

        case DIR_DOWN:
            for (uint16_t i = 0; i < MOVE_STEP; i++)
            {
                H_line(oldX, oldY + i, oldW, COLOR_CAMINO);
            }
            break;
    }
}
void MoverTanqueRojoStage(TankDir dir)
{
    int16_t newX = x_rojo;
    int16_t newY = y_rojo;
    uint16_t oldX = x_rojo;
    uint16_t oldY = y_rojo;
    TankDir oldDir = dir_rojo;

    switch (dir)
    {
        case DIR_UP:    newY -= MOVE_STEP; break;
        case DIR_DOWN:  newY += MOVE_STEP; break;
        case DIR_LEFT:  newX -= MOVE_STEP; break;
        case DIR_RIGHT: newX += MOVE_STEP; break;
    }

    if (newX < 0 || newY < 0) return;
    if (!PuedeMoverTanqueRojo((uint16_t)newX, (uint16_t)newY, dir)) return;

    BorrarSpriteAnterior(oldX, oldY, oldDir, dir);

    x_rojo = (uint16_t)newX;
    y_rojo = (uint16_t)newY;
    dir_rojo = dir;

    DibujarTanqueRojo();
}

void MoverTanqueCelesteStage(TankDir dir)
{
    int16_t newX = x_celeste;
    int16_t newY = y_celeste;
    uint16_t oldX = x_celeste;
    uint16_t oldY = y_celeste;
    TankDir oldDir = dir_celeste;

    switch (dir)
    {
        case DIR_UP:    newY -= MOVE_STEP; break;
        case DIR_DOWN:  newY += MOVE_STEP; break;
        case DIR_LEFT:  newX -= MOVE_STEP; break;
        case DIR_RIGHT: newX += MOVE_STEP; break;
    }

    if (newX < 0 || newY < 0) return;
    if (!PuedeMoverTanqueCeleste((uint16_t)newX, (uint16_t)newY, dir)) return;

    BorrarSpriteAnterior(oldX, oldY, oldDir, dir);

    x_celeste = (uint16_t)newX;
    y_celeste = (uint16_t)newY;
    dir_celeste = dir;

    DibujarTanqueCeleste();
}
uint8_t PuedeMoverBala(int16_t newX, int16_t newY, TankDir dir)
{
    if (newX < 0 || newY < 0) return 0;
    if ((newX + BALA_W - 1) >= STAGE_W) return 0;
    if ((newY + BALA_H - 1) >= STAGE_H) return 0;

    switch (dir)
    {
        case DIR_RIGHT:
            return PixelTransitableRAM((uint16_t)(newX + BALA_W - 1), (uint16_t)(newY + 1));

        case DIR_LEFT:
            return PixelTransitableRAM((uint16_t)newX, (uint16_t)(newY + 1));

        case DIR_UP:
            return PixelTransitableRAM((uint16_t)(newX + 1), (uint16_t)newY);

        case DIR_DOWN:
            return PixelTransitableRAM((uint16_t)(newX + 1), (uint16_t)(newY + BALA_H - 1));
    }

    return 0;
}

void DibujarBala(const Bala *bala)
{
    if (!bala->activa) return;
    LCD_Sprite((uint16_t)bala->x, (uint16_t)bala->y, BALA_W, BALA_H, BALAS, 1, 0, 0, 0);
}

void BorrarFranjaBala(const Bala *bala)
{
    if (!bala->activa) return;

    uint16_t borrarX = (BALA_STEP < BALA_W) ? BALA_STEP : BALA_W;
    uint16_t borrarY = (BALA_STEP < BALA_H) ? BALA_STEP : BALA_H;

    switch (bala->dir)
    {
        case DIR_RIGHT:
            for (uint16_t i = 0; i < borrarX; i++)
            {
                V_line((uint16_t)bala->x + i, (uint16_t)bala->y, BALA_H, COLOR_CAMINO);
            }
            break;

        case DIR_LEFT:
            for (uint16_t i = 0; i < borrarX; i++)
            {
                V_line((uint16_t)bala->x + BALA_W - 1 - i, (uint16_t)bala->y, BALA_H, COLOR_CAMINO);
            }
            break;

        case DIR_UP:
            for (uint16_t i = 0; i < borrarY; i++)
            {
                H_line((uint16_t)bala->x, (uint16_t)bala->y + BALA_H - 1 - i, BALA_W, COLOR_CAMINO);
            }
            break;

        case DIR_DOWN:
            for (uint16_t i = 0; i < borrarY; i++)
            {
                H_line((uint16_t)bala->x, (uint16_t)bala->y + i, BALA_W, COLOR_CAMINO);
            }
            break;
    }
}

void BorrarBalaCompleta(const Bala *bala)
{
    H_line((uint16_t)bala->x, (uint16_t)bala->y, BALA_W, COLOR_CAMINO);
    H_line((uint16_t)bala->x, (uint16_t)bala->y + 1, BALA_W, COLOR_CAMINO);
    H_line((uint16_t)bala->x, (uint16_t)bala->y + 2, BALA_W, COLOR_CAMINO);
}

void DispararBalaRoja(void)
{
    if (!EnJuego()) return;
    if (bala_roja.activa) return;

    uint16_t w = SpriteWidth(dir_rojo);
    uint16_t h = SpriteHeight(dir_rojo);

    bala_roja.dir = dir_rojo;
    bala_roja.activa = 1;

    switch (dir_rojo)
    {
        case DIR_RIGHT:
            bala_roja.x = x_rojo + w;
            bala_roja.y = y_rojo + (h / 2) - 1;
            break;

        case DIR_LEFT:
            bala_roja.x = x_rojo - BALA_W;
            bala_roja.y = y_rojo + (h / 2) - 1;
            break;

        case DIR_UP:
            bala_roja.x = x_rojo + (w / 2) - 1;
            bala_roja.y = y_rojo - BALA_H;
            break;

        case DIR_DOWN:
            bala_roja.x = x_rojo + (w / 2) - 1;
            bala_roja.y = y_rojo + h;
            break;
    }

    if (!PuedeMoverBala(bala_roja.x, bala_roja.y, bala_roja.dir))
    {
        bala_roja.activa = 0;
        return;
    }

    DibujarBala((const Bala *)&bala_roja);
}

void DispararBalaCeleste(void)
{
    if (!EnJuego()) return;
    if (bala_celeste.activa) return;

    uint16_t w = SpriteWidth(dir_celeste);
    uint16_t h = SpriteHeight(dir_celeste);

    bala_celeste.dir = dir_celeste;
    bala_celeste.activa = 1;

    switch (dir_celeste)
    {
        case DIR_RIGHT:
            bala_celeste.x = x_celeste + w;
            bala_celeste.y = y_celeste + (h / 2) - 1;
            break;

        case DIR_LEFT:
            bala_celeste.x = x_celeste - BALA_W;
            bala_celeste.y = y_celeste + (h / 2) - 1;
            break;

        case DIR_UP:
            bala_celeste.x = x_celeste + (w / 2) - 1;
            bala_celeste.y = y_celeste - BALA_H;
            break;

        case DIR_DOWN:
            bala_celeste.x = x_celeste + (w / 2) - 1;
            bala_celeste.y = y_celeste + h;
            break;
    }

    if (!PuedeMoverBala(bala_celeste.x, bala_celeste.y, bala_celeste.dir))
    {
        bala_celeste.activa = 0;
        return;
    }

    DibujarBala((const Bala *)&bala_celeste);
}

void ActualizarBala(Bala *bala)
{
    if (!bala->activa) return;

    int16_t oldX = bala->x;
    int16_t oldY = bala->y;

    int16_t newX = bala->x;
    int16_t newY = bala->y;

    switch (bala->dir)
    {
        case DIR_RIGHT: newX += BALA_STEP; break;
        case DIR_LEFT:  newX -= BALA_STEP; break;
        case DIR_UP:    newY -= BALA_STEP; break;
        case DIR_DOWN:  newY += BALA_STEP; break;
    }

    bala->x = newX;
    bala->y = newY;

    // --- colision contra jugador enemigo ---
    if (bala == (Bala *)&bala_roja)
    {
        if (BalaImpactaTanque((const Bala *)bala, x_celeste, y_celeste, dir_celeste))
        {
            BorrarBalaCompleta((const Bala *)bala);
            bala->activa = 0;

            if(stage1){
				HAL_UART_Transmit(&huart3, &dato_colision, 1, 100);
				uint16_t oldX = x_celeste;
			    uint16_t oldY = y_celeste;
				TankDir oldDir = dir_celeste;
				uint16_t w = SpriteWidth(oldDir);
				uint16_t h = SpriteHeight(oldDir);
				FillRect(oldX, oldY, w, h, 0x0000);
				vida_celeste--;
				x_celeste = STAGE_W - TANK_W;
				y_celeste = STAGE_H - TANK_H;
				dir_celeste = DIR_LEFT;
				DibujarTanqueCeleste();
				if(vida_celeste == 0){
					contador1++;
					HAL_UART_Transmit(&huart3, &dato_muerte, 1, 100);
					estado=2;
				}
				return;
            }
            else if(stage2){
            	HAL_UART_Transmit(&huart3, &dato_colision, 1, 100);
            	uint16_t oldX = x_celeste;
            	uint16_t oldY = y_celeste;
            	TankDir oldDir = dir_celeste;
            	uint16_t w = SpriteWidth(oldDir);
            	uint16_t h = SpriteHeight(oldDir);
            	FillRect(oldX, oldY, w, h, 0x0000);
            	vida_celeste--;
            	x_celeste = 195 - TANK_W;
                y_celeste = 69 - TANK_H;
                dir_celeste = DIR_LEFT;
                DibujarTanqueCeleste();
                if(vida_celeste == 0){
                	contador1++;
                	HAL_UART_Transmit(&huart3, &dato_muerte, 1, 100);
                	estado=3;
                }
            	return;
            }
            else if(stage3){
            	HAL_UART_Transmit(&huart3, &dato_colision, 1, 100);
            	uint16_t oldX = x_celeste;
            	uint16_t oldY = y_celeste;
                TankDir oldDir = dir_celeste;
            	uint16_t w = SpriteWidth(oldDir);
            	uint16_t h = SpriteHeight(oldDir);
            	FillRect(oldX, oldY, w, h, 0x0000);
            	vida_celeste--;
            	x_celeste = 9;
            	y_celeste = 97;
            	dir_celeste = DIR_LEFT;
            	DibujarTanqueCeleste();
                if(vida_celeste == 0){
                	contador1++;
            	   HAL_UART_Transmit(&huart3, &dato_muerte, 1, 100);
            	   if(contador1 >= 2){
            		  estado=4;
            	   }
            	   else if(contador2 >= 2)
            	   estado=5;
            	}
            	return;
            }
        }
    }
    else if (bala == (Bala *)&bala_celeste)
    {
        if (BalaImpactaTanque((const Bala *)bala, x_rojo, y_rojo, dir_rojo))
        {
            BorrarBalaCompleta((const Bala *)bala);
            bala->activa = 0;
            if(stage1){
				HAL_UART_Transmit(&huart3, &dato_colision, 1, 100);
				uint16_t oldX = x_rojo;
				uint16_t oldY = y_rojo;
				TankDir oldDir = dir_rojo;
				uint16_t w = SpriteWidth(oldDir);
				uint16_t h = SpriteHeight(oldDir);
				FillRect(oldX, oldY, w, h, 0x0000);
				vida_rojo--;
				x_rojo = 33;
				y_rojo = 45;
				dir_rojo = DIR_RIGHT;
				DibujarTanqueRojo();
				if(vida_rojo == 0){
					contador2++;
					HAL_UART_Transmit(&huart3, &dato_muerte, 1, 100);
					estado=2;
				}
				return;
            }
            else if(stage2){
            	HAL_UART_Transmit(&huart3, &dato_colision, 1, 100);
            	uint16_t oldX = x_rojo;
            	uint16_t oldY = y_rojo;
            	TankDir oldDir = dir_rojo;
            	uint16_t w = SpriteWidth(oldDir);
            	uint16_t h = SpriteHeight(oldDir);
            	FillRect(oldX, oldY, w, h, 0x0000);
            	vida_rojo--;
            	x_rojo = 30;
            	y_rojo = 187;
            	dir_rojo = DIR_RIGHT;
            	DibujarTanqueRojo();
            	if(vida_rojo == 0){
            		contador2++;
            		HAL_UART_Transmit(&huart3, &dato_muerte, 1, 100);
            		estado=3;
            	}
            	return;
            }
            else if(stage3){
              HAL_UART_Transmit(&huart3, &dato_colision, 1, 100);
              uint16_t oldX = x_rojo;
              uint16_t oldY = y_rojo;
              TankDir oldDir = dir_rojo;
              uint16_t w = SpriteWidth(oldDir);
              uint16_t h = SpriteHeight(oldDir);
              FillRect(oldX, oldY, w, h, 0x0000);
              vida_rojo--;
          	  x_rojo = 266;
          	  y_rojo = 93;
          	  dir_rojo = DIR_RIGHT;
          	  DibujarTanqueRojo();
          	  if(vida_rojo == 0){
          		  contador2++;
          		  HAL_UART_Transmit(&huart3, &dato_muerte, 1, 100);
          		  if(contador1 >= 2){
          		     estado=4;
          		  }
          		  else if(contador2 >= 2){
          		     estado=5;
          		  }
          		  return;
          	  }

            }
        }
    }

    // --- colision contra pared ---
    if (!PuedeMoverBala(newX, newY, bala->dir))
    {
        bala->x = oldX;
        bala->y = oldY;
        BorrarBalaCompleta((const Bala *)bala);
        bala->activa = 0;
        return;
    }

    DibujarBala((const Bala *)bala);

    Bala balaVieja = *bala;
    balaVieja.x = oldX;
    balaVieja.y = oldY;
    BorrarFranjaBala(&balaVieja);
}
void ActualizarBalas(void)
{
    uint32_t now = HAL_GetTick();

    if ((now - lastBulletTick) < BALA_INTERVAL_MS) return;
    lastBulletTick = now;

    ActualizarBala((Bala *)&bala_roja);
    ActualizarBala((Bala *)&bala_celeste);
}
FRESULT CargarMapaColision(const char *filename)
{
    FRESULT fr;
    UINT br;
    uint8_t pix[2];

    fr = f_open(&fil, filename, FA_READ);
    if (fr != FR_OK) return fr;

    for (uint16_t y = 0; y < STAGE_H; y++)
    {
        for (uint16_t x = 0; x < STAGE_W; x++)
        {
            fr = f_read(&fil, pix, 2, &br);
            if (fr != FR_OK || br != 2)
            {
                f_close(&fil);
                return FR_INT_ERR;
            }

            uint16_t color = ((uint16_t)pix[0] << 8) | pix[1];

            if (color == COLOR_CAMINO)
                collisionMap[y][x] = 1;
            else
                collisionMap[y][x] = 0;
        }
    }

    f_close(&fil);
    return FR_OK;
}

uint8_t PixelTransitableRAM(uint16_t x, uint16_t y)
{
    if (x >= STAGE_W || y >= STAGE_H) return 0;
    return collisionMap[y][x];
}
uint8_t BalaImpactaTanque(const Bala *bala, uint16_t tankX, uint16_t tankY, TankDir tankDir)
{
    if (!bala->activa) return 0;

    uint16_t tankW = SpriteWidth(tankDir);
    uint16_t tankH = SpriteHeight(tankDir);

    int16_t balaLeft   = bala->x;
    int16_t balaRight  = bala->x + BALA_W - 1;
    int16_t balaTop    = bala->y;
    int16_t balaBottom = bala->y + BALA_H - 1;

    int16_t tankLeft   = tankX;
    int16_t tankRight  = tankX + tankW - 1;
    int16_t tankTop    = tankY;
    int16_t tankBottom = tankY + tankH - 1;

    if (balaRight < tankLeft)   return 0;
    if (balaLeft > tankRight)   return 0;
    if (balaBottom < tankTop)   return 0;
    if (balaTop > tankBottom)   return 0;

    return 1;
}
uint8_t TanquesColisionan(uint16_t x1, uint16_t y1, TankDir dir1,
                          uint16_t x2, uint16_t y2, TankDir dir2)
{
    uint16_t w1 = SpriteWidth(dir1);
    uint16_t h1 = SpriteHeight(dir1);
    uint16_t w2 = SpriteWidth(dir2);
    uint16_t h2 = SpriteHeight(dir2);

    int16_t left1   = x1;
    int16_t right1  = x1 + w1 - 1;
    int16_t top1    = y1;
    int16_t bottom1 = y1 + h1 - 1;

    int16_t left2   = x2;
    int16_t right2  = x2 + w2 - 1;
    int16_t top2    = y2;
    int16_t bottom2 = y2 + h2 - 1;

    if (right1 < left2) return 0;
    if (left1 > right2) return 0;
    if (bottom1 < top2) return 0;
    if (top1 > bottom2) return 0;

    return 1;
}

uint8_t PuedeMoverTanqueRojo(uint16_t newX, uint16_t newY, TankDir dir)
{
    if (!PuedeMoverTanque(newX, newY, dir)) return 0;

    if (TanquesColisionan(newX, newY, dir, x_celeste, y_celeste, dir_celeste))
        return 0;

    return 1;
}

uint8_t PuedeMoverTanqueCeleste(uint16_t newX, uint16_t newY, TankDir dir)
{
    if (!PuedeMoverTanque(newX, newY, dir)) return 0;

    if (TanquesColisionan(newX, newY, dir, x_rojo, y_rojo, dir_rojo))
        return 0;

    return 1;
}
/* USER CODE END 4 */

void Error_Handler(void)
{
	__disable_irq();
	while (1) {
	}
}
